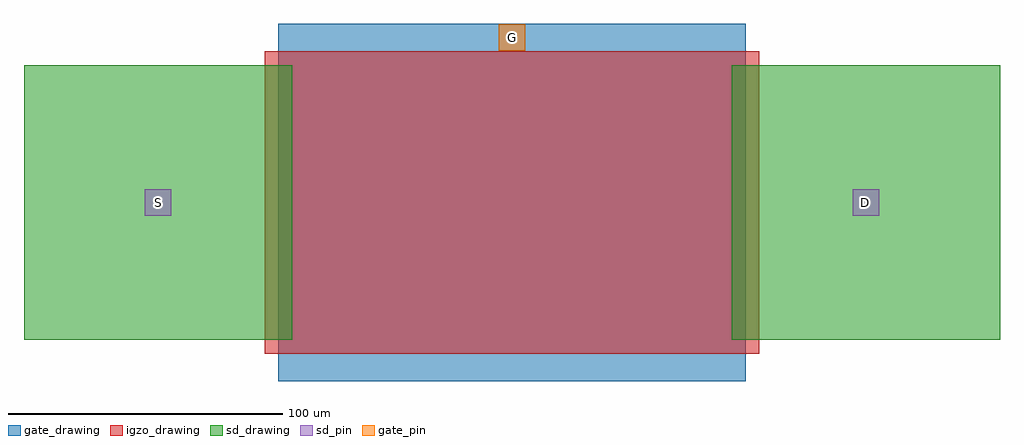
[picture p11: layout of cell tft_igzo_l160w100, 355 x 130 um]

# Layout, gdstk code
import gdstk
lib = gdstk.Library(unit=1e-6, precision=1e-09)
def R(c, l, rs):  # rectangles x0, y0, x1, y1
    for r in rs: c.add(gdstk.rectangle(r[:2], r[2:], *l))
gate_drawing = (2, 0)
gate_pin = (2, 10)
igzo_drawing = (4, 0)
sd_drawing = (6, 0)
sd_pin = (6, 10)

tft_igzo_l160w100 = lib.new_cell('tft_igzo_l160w100')
R(tft_igzo_l160w100, gate_drawing, [(-85,-65,85,65)])
R(tft_igzo_l160w100, gate_pin, [(-4.88,55.12,4.88,64.88)])
R(tft_igzo_l160w100, igzo_drawing, [(-90,-55,90,55)])
R(tft_igzo_l160w100, sd_drawing, [(-177.5,-50,-80,50), (80,-50,177.5,50)])
R(tft_igzo_l160w100, sd_pin, [(-133.63,-4.88,-123.87,4.88), (123.87,-4.88,133.63,4.88)])
tft_igzo_l160w100.add(gdstk.Label('S', (-128.75,0), layer=6, texttype=10))
tft_igzo_l160w100.add(gdstk.Label('D', (128.75,0), layer=6, texttype=10))
tft_igzo_l160w100.add(gdstk.Label('G', (0,60), layer=2, texttype=10))

lib.write_gds('tft_igzo_l160w100.gds')
